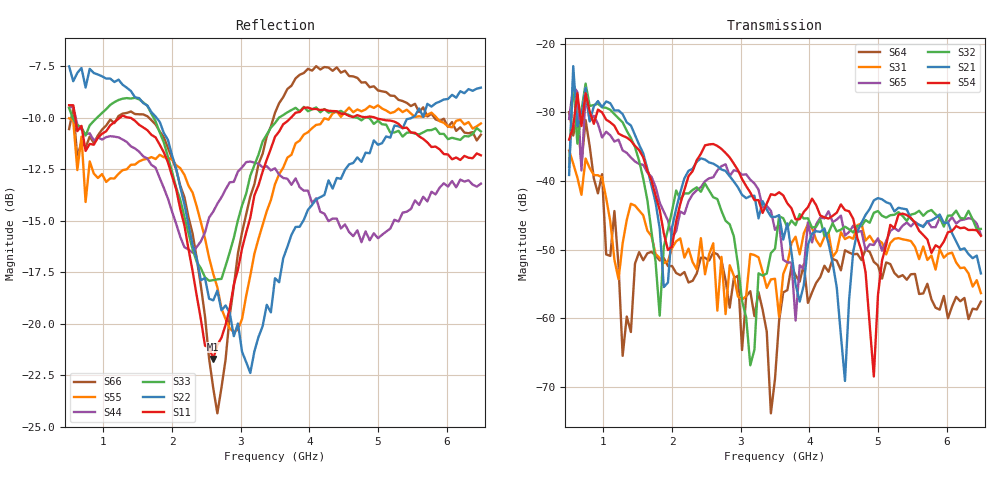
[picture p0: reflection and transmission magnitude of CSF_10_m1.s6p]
!Keysight Technologies,M9804A,MY58100912,A.14.10.03
!Date: Thursday, April 27, 2023 10:28:33
!Correction: S11(C  6-Port  )
!S12(C  6-Port  )
!S13(C  6-Port  )
!S14(C  6-Port  )
!S15(C  6-Port  )
!S16(C  6-Port  )
!S21(C  6-Port  )
!S22(C  6-Port  )
!S23(C  6-Port  )
!S24(C  6-Port  )
!S25(C  6-Port  )
!S26(C  6-Port  )
!S31(C  6-Port  )
!S32(C  6-Port  )
!S33(C  6-Port  )
!S34(C  6-Port  )
!S35(C  6-Port  )
!S36(C  6-Port  )
!S41(C  6-Port  )
!S42(C  6-Port  )
!S43(C  6-Port  )
!S44(C  6-Port  )
!S45(C  6-Port  )
!S46(C  6-Port  )
!S51(C  6-Port  )
!S52(C  6-Port  )
!S53(C  6-Port  )
!S54(C  6-Port  )
!S55(C  6-Port  )
!S56(C  6-Port  )
!S61(C  6-Port  )
!S62(C  6-Port  )
!S63(C  6-Port  )
!S64(C  6-Port  )
!S65(C  6-Port  )
!S66(C  6-Port  )
!S6P File: Measurement: :
# Hz S  RI  R 50
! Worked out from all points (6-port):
!   101 points, 500 MHz to 6.5 GHz, reference 50 ohm
!   strongest paths, dB at 500 MHz, 2 GHz, 3.5 GHz, 5 GHz, 6.5 GHz:
!     S54: -34.0, -49.5, -42.1, -56.7, -48.0
!     S21: -39.1, -46.8, -45.3, -42.5, -53.5
!     S32: -38.0, -44.3, -49.9, -44.4, -47.0
!     S65: -31.0, -48.3, -47.1, -48.4, -47.8
!     S31: -35.6, -49.8, -54.3, -48.6, -56.4
!     S64: -30.0, -52.4, -68.9, -52.3, -57.6
!   lowest |S11| = -21.7 dB at 2.6 GHz (marker M1), VSWR 1.18, Z = 42.7 + j2.11 ohm
!   |S11| at or under -10 dB: 589.5 MHz to 1.236 GHz (646.2 MHz wide, 70.8 % of centre); 1.403 GHz to 3.728 GHz (2.326 GHz wide, 90.7 % of centre); 4.971 GHz to end of sweep
